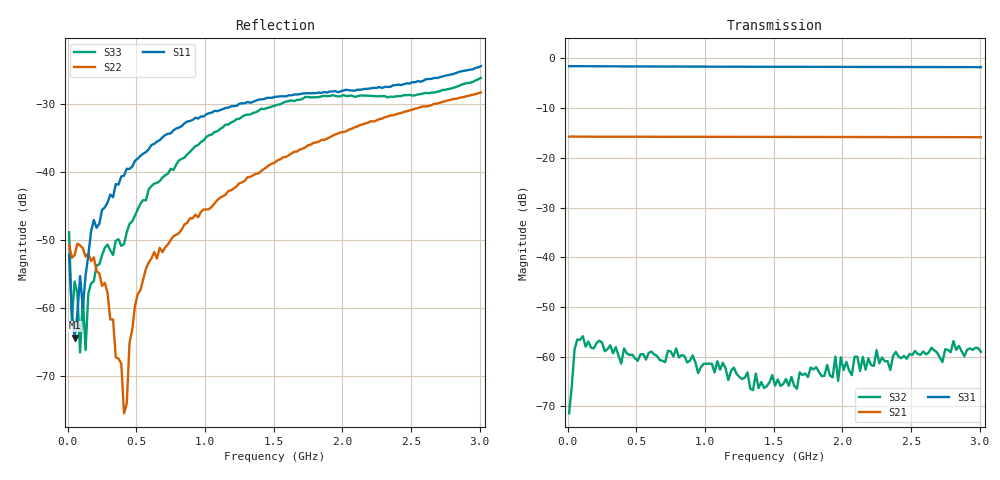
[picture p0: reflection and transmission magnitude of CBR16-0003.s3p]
! MARKI MICROWAVE INC.
! Email:  info@markimicrowave.com  Phone:  408-778-4200
! Model Number:  CBR16-0003  Date:  07/12
! Filename:		CBR16-0003.S3P  Version: 1.0
! Description:  3-port S-parameter data for Bridge Coupler CBR16-0003
! Frequency Range: 	10 MHz to 3 GHz
! Port Configuration:	PORT 1: INPUT, PORT 2: COUPLED and Port 3: Output
! S3P File: Measurements: Mag<S11> Ang<S11> Mag<S12> Ang<S12> Mag<S13> Ang<S13>! row 1
!  Mag<S21> Ang<S21> Mag<S22> Ang<S22> Mag<S23> Ang<S23>! row 2
!  Mag<S31> Ang<S31> Mag<S32> Ang<S32> Mag<S33> Ang<S33>! row 3
# Hz S  dB  R 50
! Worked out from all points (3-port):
!   151 points, 10 MHz to 3.008 GHz, reference 50 ohm
!   strongest paths, dB at 10 MHz, 749.5 MHz, 1.509 GHz, 2.269 GHz, 3.008 GHz:
!     S31: -1.6, -1.6, -1.7, -1.7, -1.8
!     S21: -15.7, -15.8, -15.8, -15.8, -15.9
!     S32: -71.4, -58.9, -65.8, -61.3, -59.0
!   lowest |S11| = -64.4 dB at 49.98 MHz (marker M1), VSWR 1.00, Z = 50.1 + j0.00312 ohm
!   |S11| at or under -10 dB: start of sweep to end of sweep
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1e7  -52.28 83.8  -15.68 -0.5  -1.57 -1.3
     -15.75 -0.1  -50.76 149.9  -56.90 -70.8
     -1.58 -1.3  -71.37 -141.7  -48.87 65.9
2.99875e7  -60.73 52.0  -15.72 -1.8  -1.57 -3.3
           -15.72 -1.9  -52.62 178.5  -62.48 5.3
           -1.57 -3.3  -65.69 36.5  -61.79 9.9
4.9975e7  -64.39 3.0  -15.76 -3.1  -1.57 -5.5
          -15.74 -3.1  -52.24 169.8  -58.96 27.5
          -1.57 -5.5  -58.48 47.8  -56.11 63.6
1.29925e8  -55.23 -47.3  -15.77 -7.9  -1.58 -14.2
           -15.75 -7.9  -52.45 166.6  -57.47 -5.3
           -1.58 -14.2  -57.96 0.7  -66.23 -5.4
2.09875e8  -48.20 -65.1  -15.76 -12.7  -1.59 -22.9
           -15.75 -12.6  -54.58 159.4  -57.48 -23.1
           -1.59 -22.8  -57.23 -22.7  -53.76 -77.4
4.0975e8  -40.52 -86.4  -15.76 -24.7  -1.61 -44.4
          -15.76 -24.6  -75.55 166.7  -58.77 -50.2
          -1.61 -44.4  -58.31 -53.5  -50.61 -125.6
6.296125e8  -35.84 -105.4  -15.77 -37.7  -1.63 -68.1
            -15.77 -37.8  -51.78 -47.9  -60.02 -85.7
            -1.63 -68.1  -59.55 -79.6  -41.70 178.1
1.509062e9  -28.89 -174.7  -15.81 -90.4  -1.70 -162.7
            -15.81 -90.4  -38.56 -130.3  -64.46 -154.4
            -1.71 -162.6  -65.81 -153.7  -30.18 37.5
2.32855e9  -27.44 144.7  -15.86 -139.1  -1.74 109.3
           -15.84 -139.1  -31.80 171.1  -59.62 152.8
           -1.74 109.4  -60.88 155.0  -28.99 -94.2
3.008125e9  -24.39 116.0  -15.86 -179.4  -1.77 36.2
            -15.86 -179.5  -28.27 128.4  -58.26 85.7
            -1.77 36.2  -59.01 91.0  -26.12 133.0
